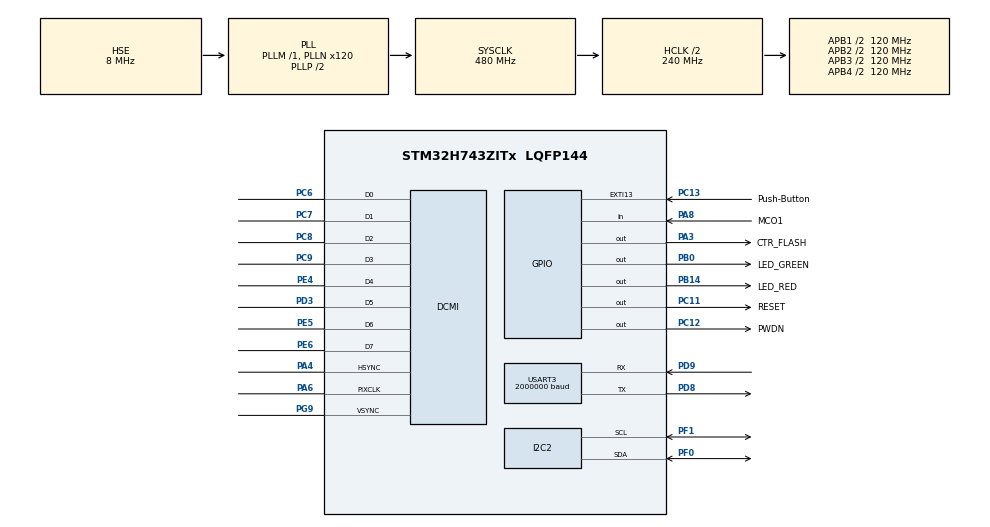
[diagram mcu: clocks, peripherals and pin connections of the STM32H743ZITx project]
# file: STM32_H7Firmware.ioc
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CORTEX_M7.AccessPermission_S-Cortex_Memory_Protection_Unit_Region1_Settings_S=MPU_REGION_FULL_ACCESS
CORTEX_M7.AccessPermission_S-Cortex_Memory_Protection_Unit_Region2_Settings_S=MPU_REGION_FULL_ACCESS
CORTEX_M7.AccessPermission_S-Cortex_Memory_Protection_Unit_Region3_Settings_S=MPU_REGION_FULL_ACCESS
CORTEX_M7.BaseAddress_S-Cortex_Memory_Protection_Unit_Region1_Settings_S=0x24000000
CORTEX_M7.BaseAddress_S-Cortex_Memory_Protection_Unit_Region2_Settings_S=0x30000000
CORTEX_M7.BaseAddress_S-Cortex_Memory_Protection_Unit_Region3_Settings_S=0x38000000
CORTEX_M7.CPU_DCache=Enabled
CORTEX_M7.CPU_ICache=Enabled
CORTEX_M7.DisableExec_S-Cortex_Memory_Protection_Unit_Region1_Settings_S=MPU_INSTRUCTION_ACCESS_DISABLE
CORTEX_M7.DisableExec_S-Cortex_Memory_Protection_Unit_Region2_Settings_S=MPU_INSTRUCTION_ACCESS_DISABLE
CORTEX_M7.DisableExec_S-Cortex_Memory_Protection_Unit_Region3_Settings_S=MPU_INSTRUCTION_ACCESS_DISABLE
CORTEX_M7.Enable_S-Cortex_Memory_Protection_Unit_Region1_Settings_S=MPU_REGION_ENABLE
CORTEX_M7.Enable_S-Cortex_Memory_Protection_Unit_Region2_Settings_S=MPU_REGION_ENABLE
CORTEX_M7.Enable_S-Cortex_Memory_Protection_Unit_Region3_Settings_S=MPU_REGION_ENABLE
CORTEX_M7.Size_S-Cortex_Memory_Protection_Unit_Region1_Settings_S=MPU_REGION_SIZE_512KB
CORTEX_M7.Size_S-Cortex_Memory_Protection_Unit_Region2_Settings_S=MPU_REGION_SIZE_256KB
CORTEX_M7.Size_S-Cortex_Memory_Protection_Unit_Region3_Settings_S=MPU_REGION_SIZE_64KB
CORTEX_M7.TypeExtField_S-Cortex_Memory_Protection_Unit_Region1_Settings_S=MPU_TEX_LEVEL1
CORTEX_M7.TypeExtField_S-Cortex_Memory_Protection_Unit_Region2_Settings_S=MPU_TEX_LEVEL1
CORTEX_M7.TypeExtField_S-Cortex_Memory_Protection_Unit_Region3_Settings_S=MPU_TEX_LEVEL1
CORTEX_M7.default_mode_Activation=1
DCMI.JPEGMode=DCMI_JPEG_DISABLE
DCMI.PCKPolarity=DCMI_PCKPOLARITY_RISING
Dma.DCMI.1.Direction=DMA_PERIPH_TO_MEMORY
Dma.DCMI.1.EventEnable=DISABLE
Dma.DCMI.1.FIFOMode=DMA_FIFOMODE_ENABLE
Dma.DCMI.1.FIFOThreshold=DMA_FIFO_THRESHOLD_FULL
Dma.DCMI.1.Instance=DMA2_Stream1
Dma.DCMI.1.MemBurst=DMA_MBURST_SINGLE
Dma.DCMI.1.MemDataAlignment=DMA_MDATAALIGN_WORD
Dma.DCMI.1.MemInc=DMA_MINC_ENABLE
Dma.DCMI.1.Mode=DMA_NORMAL
Dma.DCMI.1.PeriphBurst=DMA_PBURST_SINGLE
Dma.DCMI.1.PeriphDataAlignment=DMA_PDATAALIGN_WORD
Dma.DCMI.1.PeriphInc=DMA_PINC_DISABLE
Dma.DCMI.1.Polarity=HAL_DMAMUX_REQ_GEN_RISING
Dma.DCMI.1.Priority=DMA_PRIORITY_VERY_HIGH
Dma.DCMI.1.RequestNumber=1
Dma.DCMI.1.SignalID=NONE
Dma.DCMI.1.SyncEnable=DISABLE
Dma.DCMI.1.SyncPolarity=HAL_DMAMUX_SYNC_NO_EVENT
Dma.DCMI.1.SyncRequestNumber=1
Dma.DCMI.1.SyncSignalID=NONE
Dma.Request0=USART3_TX
Dma.Request1=DCMI
Dma.USART3_TX.0.Direction=DMA_MEMORY_TO_PERIPH
Dma.USART3_TX.0.EventEnable=DISABLE
Dma.USART3_TX.0.FIFOMode=DMA_FIFOMODE_ENABLE
Dma.USART3_TX.0.FIFOThreshold=DMA_FIFO_THRESHOLD_FULL
Dma.USART3_TX.0.Instance=DMA2_Stream3
Dma.USART3_TX.0.MemBurst=DMA_MBURST_SINGLE
Dma.USART3_TX.0.MemDataAlignment=DMA_MDATAALIGN_BYTE
Dma.USART3_TX.0.MemInc=DMA_MINC_ENABLE
Dma.USART3_TX.0.Mode=DMA_NORMAL
Dma.USART3_TX.0.PeriphBurst=DMA_PBURST_SINGLE
Dma.USART3_TX.0.PeriphDataAlignment=DMA_PDATAALIGN_BYTE
Dma.USART3_TX.0.PeriphInc=DMA_PINC_DISABLE
Dma.USART3_TX.0.Polarity=HAL_DMAMUX_REQ_GEN_RISING
Dma.USART3_TX.0.Priority=DMA_PRIORITY_LOW
Dma.USART3_TX.0.RequestNumber=1
Dma.USART3_TX.0.SignalID=NONE
Dma.USART3_TX.0.SyncEnable=DISABLE
Dma.USART3_TX.0.SyncPolarity=HAL_DMAMUX_SYNC_NO_EVENT
Dma.USART3_TX.0.SyncRequestNumber=1
Dma.USART3_TX.0.SyncSignalID=NONE
FREERTOS.Tasks01=defaultTask,24,128,StartDefaultTask,Default,NULL,Dynamic,NULL,NULL
FREERTOS.configTOTAL_HEAP_SIZE=49152
FREERTOS.configUSE_IDLE_HOOK=1
FREERTOS.configUSE_NEWLIB_REENTRANT=1
I2C2.Timing=0x307075B1
Mcu.Family=STM32H7
Mcu.Name=STM32H743ZITx
Mcu.Package=LQFP144
NVIC.DCMI_IRQn=true\:5\:0\:false\:false\:true\:true\:true\:true\:true
NVIC.DMA2_Stream1_IRQn=true\:5\:0\:false\:false\:true\:true\:false\:true\:true
NVIC.DMA2_Stream3_IRQn=true\:5\:0\:false\:false\:true\:true\:false\:true\:true
NVIC.EXTI15_10_IRQn=true\:5\:0\:false\:false\:true\:true\:true\:true\:true
NVIC.PriorityGroup=NVIC_PRIORITYGROUP_4
NVIC.RCC_IRQn=true\:5\:0\:false\:false\:true\:true\:true\:false\:true
NVIC.TIM6_DAC_IRQn=true\:15\:0\:false\:false\:true\:false\:false\:true\:true
NVIC.TimeBase=TIM6_DAC_IRQn
NVIC.TimeBaseIP=TIM6
NVIC.USART3_IRQn=true\:5\:0\:false\:false\:true\:true\:true\:true\:true
PA13\ (JTMS/SWDIO).Mode=Serial_Wire
PA13\ (JTMS/SWDIO).Signal=DEBUG_JTMS-SWDIO
PA14\ (JTCK/SWCLK).Mode=Serial_Wire
PA14\ (JTCK/SWCLK).Signal=DEBUG_JTCK-SWCLK
PA3.GPIO_Label=CTR_FLASH
PA3.GPIO_Speed=GPIO_SPEED_FREQ_VERY_HIGH
PA3.Signal=GPIO_Output
PA4.GPIO_Speed=GPIO_SPEED_FREQ_VERY_HIGH
PA4.Mode=Slave_8_bits_External_Synchro
PA4.Signal=DCMI_HSYNC
PA6.GPIO_Speed=GPIO_SPEED_FREQ_VERY_HIGH
PA6.Mode=Slave_8_bits_External_Synchro
PA6.Signal=DCMI_PIXCLK
PA8.GPIO_Label=MCO1
PA8.Signal=GPIO_Input
PB0.GPIO_Label=LED_GREEN
PB0.Signal=GPIO_Output
PB14.GPIO_Label=LED_RED
PB14.Signal=GPIO_Output
PC11.GPIO_Label=RESET
PC11.GPIO_PuPd=GPIO_PULLDOWN
PC11.GPIO_Speed=GPIO_SPEED_FREQ_VERY_HIGH
PC11.PinState=GPIO_PIN_SET
PC11.Signal=GPIO_Output
PC12.GPIO_Label=PWDN
PC12.Signal=GPIO_Output
PC13.GPIO_Label=Push-Button
PC13.GPIO_PuPd=GPIO_PULLDOWN
PC13.Signal=GPXTI13
PC6.GPIO_Speed=GPIO_SPEED_FREQ_VERY_HIGH
PC6.Mode=Slave_8_bits_External_Synchro
PC6.Signal=DCMI_D0
PC7.GPIO_Speed=GPIO_SPEED_FREQ_VERY_HIGH
PC7.Mode=Slave_8_bits_External_Synchro
PC7.Signal=DCMI_D1
PC8.GPIO_Speed=GPIO_SPEED_FREQ_VERY_HIGH
PC8.Mode=Slave_8_bits_External_Synchro
PC8.Signal=DCMI_D2
PC9.GPIO_Speed=GPIO_SPEED_FREQ_VERY_HIGH
PC9.Mode=Slave_8_bits_External_Synchro
PC9.Signal=DCMI_D3
PD3.GPIO_Speed=GPIO_SPEED_FREQ_VERY_HIGH
PD3.Mode=Slave_8_bits_External_Synchro
PD3.Signal=DCMI_D5
PD8.GPIO_Speed=GPIO_SPEED_FREQ_VERY_HIGH
PD8.Mode=Asynchronous
PD8.Signal=USART3_TX
PD9.GPIO_Speed=GPIO_SPEED_FREQ_VERY_HIGH
PD9.Mode=Asynchronous
PD9.Signal=USART3_RX
PE4.GPIO_Speed=GPIO_SPEED_FREQ_VERY_HIGH
PE4.Mode=Slave_8_bits_External_Synchro
PE4.Signal=DCMI_D4
PE5.GPIO_Speed=GPIO_SPEED_FREQ_VERY_HIGH
PE5.Mode=Slave_8_bits_External_Synchro
PE5.Signal=DCMI_D6
PE6.GPIO_Speed=GPIO_SPEED_FREQ_VERY_HIGH
PE6.Mode=Slave_8_bits_External_Synchro
PE6.Signal=DCMI_D7
PF0.GPIO_Mode=GPIO_MODE_AF_OD
PF0.GPIO_Pu=GPIO_NOPULL
PF0.GPIO_Speed=GPIO_SPEED_FREQ_LOW
PF0.Mode=I2C
PF0.Signal=I2C2_SDA
PF1.GPIO_Mode=GPIO_MODE_AF_OD
PF1.GPIO_Pu=GPIO_NOPULL
PF1.GPIO_Speed=GPIO_SPEED_FREQ_LOW
PF1.Mode=I2C
PF1.Signal=I2C2_SCL
PG9.GPIO_FM7=SYSCFG_PMCR_I2C_PB7_FMP
PG9.GPIO_Speed=GPIO_SPEED_FREQ_VERY_HIGH
PG9.Mode=Slave_8_bits_External_Synchro
PG9.Signal=DCMI_VSYNC
PH0-OSC_IN\ (PH0).Mode=HSE-External-Clock-Source
PH0-OSC_IN\ (PH0).Signal=RCC_OSC_IN
PH1-OSC_OUT\ (PH1).Signal=RCC_OSC_OUT
ProjectManager.HeapSize=0x800
ProjectManager.StackSize=0x800
ProjectManager.TargetToolchain=STM32CubeIDE
RCC.ADCFreq_Value=16125000
RCC.APB1Freq_Value=120000000
RCC.APB2Freq_Value=120000000
RCC.APB3Freq_Value=120000000
RCC.APB4Freq_Value=120000000
RCC.CortexFreq_Value=480000000
RCC.D1PPRE=RCC_APB3_DIV2
RCC.D2PPRE1=RCC_APB1_DIV2
RCC.D2PPRE2=RCC_APB2_DIV2
RCC.D3PPRE=RCC_APB4_DIV2
RCC.DIVM1=1
RCC.DIVN1=120
RCC.HCLKFreq_Value=240000000
RCC.HPRE=RCC_HCLK_DIV2
RCC.HSE_VALUE=8000000
RCC.PLLFRACN=0
RCC.PLLSourceVirtual=RCC_PLLSOURCE_HSE
RCC.SYSCLKFreq_VALUE=480000000
RCC.SYSCLKSource=RCC_SYSCLKSOURCE_PLLCLK
RCC.USBFreq_Value=480000000
STMicroelectronics.X-CUBE-AI.10.2.0.ActivationBufferSizeList=41152
STMicroelectronics.X-CUBE-AI.10.2.0.ActivationBuffers=pool0
STMicroelectronics.X-CUBE-AI.10.2.0.ActivationNames=pool0
STMicroelectronics.X-CUBE-AI.10.2.0.ActivationSizes=AI_NETWORK_DATA_ACTIVATION_1_SIZE
STMicroelectronics.X-CUBE-AI.10.2.0.ApplicationCcDeviceJjApplication=Validation
STMicroelectronics.X-CUBE-AI.10.2.0.BSP.number=1
STMicroelectronics.X-CUBE-AI.10.2.0.HeapSize=0x800
STMicroelectronics.X-CUBE-AI.10.2.0.InternalRamActivationBufferMaxSize=AI_NETWORK_DATA_ACTIVATIONS_SIZE
STMicroelectronics.X-CUBE-AI.10.2.0.LatestDirectoryUsed-75a89e27857eb69bddace2bbe004a42d1803309420ab0a9f09e94dc84c419778=<repo-root>\\ML training\\Model\\stm32ai-modelzoo-services\\image_classification\\tf\\src\\experiments_outputs\\2026_06_27_20_08_38\\quantized_models
STMicroelectronics.X-CUBE-AI.10.2.0.MaximumNumberOfInputLayer=1
STMicroelectronics.X-CUBE-AI.10.2.0.MaximumNumberOfOutputLayer=1
STMicroelectronics.X-CUBE-AI.10.2.0.MaximumSizeOfInputLayer=1
STMicroelectronics.X-CUBE-AI.10.2.0.MaximumSizeOfOutputLayer=1
STMicroelectronics.X-CUBE-AI.10.2.0.ModelActualCompression-75a89e27857eb69bddace2bbe004a42d1803309420ab0a9f09e94dc84c419778=0.0
STMicroelectronics.X-CUBE-AI.10.2.0.ModelCompression-75a89e27857eb69bddace2bbe004a42d1803309420ab0a9f09e94dc84c419778=None
STMicroelectronics.X-CUBE-AI.10.2.0.ModelFlashOccupation-75a89e27857eb69bddace2bbe004a42d1803309420ab0a9f09e94dc84c419778=286963
STMicroelectronics.X-CUBE-AI.10.2.0.ModelHashList=75a89e27857eb69bddace2bbe004a42d1803309420ab0a9f09e94dc84c419778
STMicroelectronics.X-CUBE-AI.10.2.0.ModelKind-75a89e27857eb69bddace2bbe004a42d1803309420ab0a9f09e94dc84c419778=TFLITE
STMicroelectronics.X-CUBE-AI.10.2.0.ModelMacc-75a89e27857eb69bddace2bbe004a42d1803309420ab0a9f09e94dc84c419778=7550858
STMicroelectronics.X-CUBE-AI.10.2.0.ModelName-75a89e27857eb69bddace2bbe004a42d1803309420ab0a9f09e94dc84c419778=network
STMicroelectronics.X-CUBE-AI.10.2.0.ModelNameList=network
STMicroelectronics.X-CUBE-AI.10.2.0.ModelRamOccupation-75a89e27857eb69bddace2bbe004a42d1803309420ab0a9f09e94dc84c419778=57876
STMicroelectronics.X-CUBE-AI.10.2.0.ModelStructureFile-75a89e27857eb69bddace2bbe004a42d1803309420ab0a9f09e94dc84c419778=<repo-root>\\ML training\\Model\\stm32ai-modelzoo-services\\image_classification\\tf\\src\\experiments_outputs\\2026_06_27_20_08_38\\quantized_models\\quantized_model.tflite
STMicroelectronics.X-CUBE-AI.10.2.0.ModelType-75a89e27857eb69bddace2bbe004a42d1803309420ab0a9f09e94dc84c419778=STM32Cube.AI MCU runtime
STMicroelectronics.X-CUBE-AI.10.2.0.ReadyForCodeGeneration=true
STMicroelectronics.X-CUBE-AI.10.2.0.StackSize=0x800
STMicroelectronics.X-CUBE-AI.10.2.0.WorkingBufferStartAddrList=0xFFFFFFFF
STMicroelectronics.X-CUBE-AI.10.2.0.XAaCUBEAaAICcArtificialOoIntelligenceJjCore=true
STMicroelectronics.X-CUBE-AI.10.2.0.copyWeightToRam-75a89e27857eb69bddace2bbe004a42d1803309420ab0a9f09e94dc84c419778=false
STMicroelectronics.X-CUBE-AI.10.2.0.customLayerConfigEnabled-75a89e27857eb69bddace2bbe004a42d1803309420ab0a9f09e94dc84c419778=false
STMicroelectronics.X-CUBE-AI.10.2.0.noOnnxIoTranspose-75a89e27857eb69bddace2bbe004a42d1803309420ab0a9f09e94dc84c419778=false
STMicroelectronics.X-CUBE-AI.10.2.0.useInputAllocation-75a89e27857eb69bddace2bbe004a42d1803309420ab0a9f09e94dc84c419778=true
STMicroelectronics.X-CUBE-AI.10.2.0.useOutputAllocation-75a89e27857eb69bddace2bbe004a42d1803309420ab0a9f09e94dc84c419778=true
STMicroelectronics.X-CUBE-AI.10.2.00.BSP.STBoard=false
STMicroelectronics.X-CUBE-AI.10.2.00.BSP.api=Unknown
STMicroelectronics.X-CUBE-AI.10.2.00.BSP.condition=\!SEMDeviceJjApplicationJjApplicationTemplate
STMicroelectronics.X-CUBE-AI.10.2.00.BSP.instance=USART3
STMicroelectronics.X-CUBE-AI.10.2.00.BSP.ip=USART
STMicroelectronics.X-CUBE-AI.10.2.00.BSP.mode=Asynchronous
STMicroelectronics.X-CUBE-AI.10.2.00.BSP.name=COM Port
STMicroelectronics.X-CUBE-AI.10.2.00.BSP.solution=USART3
USART3.BaudRate=2000000
USART3.VirtualMode-Asynchronous=VM_ASYNC
VP_CRC_VS_CRC.Mode=CRC_Activate
VP_FREERTOS_VS_CMSIS_V2.Mode=CMSIS_V2
VP_MEMORYMAP_VS_MEMORYMAP.Mode=CurAppReg
VP_STMicroelectronics.X-CUBE-AI_VS_ArtificialOoIntelligenceJjXAaCUBEAaAI_10.2.0.Mode=ArtificialOoIntelligenceJjXAaCUBEAaAI
VP_STMicroelectronics.X-CUBE-AI_VS_DeviceJjApplication_10.2.0.Mode=DeviceJjApplication
VP_SYS_VS_tim6.Mode=TIM6
board=custom

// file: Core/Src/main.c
/* USER CODE BEGIN Header */
/**
******************************************************************************
* @file           : main.c
* @brief          : Main program body
******************************************************************************
* @attention
*
* STM32H743ZI Edge Vision — application entry point.
*
* ── Memory layout (see STM32H743ZITX_FLASH.ld for full details) ─────────────
*
*  Region   Base         Size    Section       Contents
*  ──────────────────────────────────────────────────────────────────────────
*  RAM_D1   0x24000000  512 KB  .dcmi_buf     frameBuffer  (255.0 KB, DMA)
*                                             cvBinBuffer  (127.5 KB)
*  RAM_D2   0x30000000  288 KB  .cvtmb_buf    cvTmpBuffer  (127.5 KB)
*                               .cvbg_buf     cvBgBuffer   (127.5 KB)
*  RAM_D3   0x38000000   64 KB  .tinyml_buf   g_activations (41 152 B = 40.2 KB)
*
* ── Buffer sizing rationale ──────────────────────────────────────────────────
*
*  APP_RGB_MAX_WIDTH  = 480   capture resolution width
*  APP_RGB_MAX_HEIGHT = 272   capture resolution height
*
*  frameBuffer  = 480 × 272 × 2 = 261 120 B (255 KB) — RGB565, DMA target
*  cvBinBuffer  = 480 × 272     = 130 560 B (128 KB) — CV work_bin
*  cvTmpBuffer  = 480 × 272     = 130 560 B (128 KB) — CV tmp_buf (RAM_D2)
*  cvBgBuffer   = 480 × 272     = 130 560 B (128 KB) — bgsub reference (RAM_D2)
*
*  cvBinBuffer and cvTmpBuffer must both be proc_w × proc_h bytes because the
*  CV pipeline writes the full image into each buffer across every stage.
*  Neither can be reduced without splitting the pipeline.  See cv_engine.c.
*
* ── MPU configuration ────────────────────────────────────────────────────────
*  Region 0: 0x00000000 / 4 GB     — No-access background region
*  Region 1: RAM_D1 0x24000000 / 512 KB — Non-Cacheable (TEX=1 C=0 B=0)
*  Region 2: RAM_D2 0x30000000 / 256 KB — Non-Cacheable (same attributes)
*  Region 3: RAM_D3 0x38000000 /  64 KB — Non-Cacheable (same attributes)
*
* ── ROI note ─────────────────────────────────────────────────────────────────
*  If a fixed ROI is always active the CV buffers could be sized for that ROI
*  only, saving ~54 KB per buffer.  Set APP_CV_MAX_WIDTH/HEIGHT to the ROI
*  dimensions to enable this.  Default is full-capture size so ROI can be
*  toggled at runtime.
*
* Copyright (c) 2026 STMicroelectronics.
* All rights reserved.
*
* This software is licensed under terms that can be found in the LICENSE file
* in the root directory of this software component.
* If no LICENSE file comes with this software, it is provided AS-IS.
*
******************************************************************************
*/
/* USER CODE END Header */
#include "main.h"
#include "FreeRTOS.h"
#include "cmsis_os2.h"
#include "app_x-cube-ai.h"

/* USER CODE BEGIN Includes */
#include "uart_tx.h"
#include "camera_app.h"
#include "camera_capture.h"
#include "camera_parse.h"
#include "camera_proto.h"
#include "cv_engine.h"
#include "task.h"
#include "queue.h"
/* USER CODE END Includes */

/* USER CODE BEGIN PD */

/* ── Capture resolution ───────────────────────────────────────────────────────
 * Maximum supported: 480×272.
 * VGA (640×480) is NOT possible: frameBuffer alone = 600 KB > 512 KB RAM_D1. */

#ifndef APP_RGB_MAX_WIDTH
#define APP_RGB_MAX_WIDTH   480u
#endif
#ifndef APP_RGB_MAX_HEIGHT
#define APP_RGB_MAX_HEIGHT  272u
#endif

/* ── CV buffer maximum region size ───────────────────────────────────────────
 * Must be >= the largest proc_w * proc_h that will ever be requested.
 * Default = full capture size so ROI can be toggled at runtime.
 * Reduce to a fixed ROI size only if ROI is always active. */

#ifndef APP_CV_MAX_WIDTH
#define APP_CV_MAX_WIDTH    APP_RGB_MAX_WIDTH
#endif
#ifndef APP_CV_MAX_HEIGHT
#define APP_CV_MAX_HEIGHT   APP_RGB_MAX_HEIGHT
#endif

/* ── Task stack sizes (words = 4 bytes each) ─────────────────────────────── */

#ifndef APP_UART_TX_QUEUE_LEN
#define APP_UART_TX_QUEUE_LEN        8u
#endif
#ifndef APP_CAMERA_TASK_STACK_WORDS
#define APP_CAMERA_TASK_STACK_WORDS  4096u
#endif
#ifndef APP_STREAM_TASK_STACK_WORDS
#define APP_STREAM_TASK_STACK_WORDS  1024u
#endif
#ifndef APP_UART_TASK_STACK_WORDS
#define APP_UART_TASK_STACK_WORDS    768u
#endif
#ifndef APP_HEARTBEAT_STACK_WORDS
#define APP_HEARTBEAT_STACK_WORDS    128u
#endif

/* ── Derived buffer sizes ────────────────────────────────────────────────── */

/* frameBuffer: full RGB565 capture frame, DMA target (2 bytes/pixel). */
#define FRAME_BUF_SIZE   ((uint32_t)APP_RGB_MAX_WIDTH  * APP_RGB_MAX_HEIGHT  * 2u)

/* cvBinBuffer (work_bin): 1 byte/pixel, sized for maximum processing region. */
#define CV_BIN_BUF_SIZE  ((uint32_t)APP_CV_MAX_WIDTH * APP_CV_MAX_HEIGHT)

/* cvTmpBuffer (tmp_buf): same size as cvBinBuffer; used for grayscale staging,
 * binary staging, and morphology intermediate.  Resides in RAM_D2. */
#define CV_TMP_BUF_SIZE  ((uint32_t)APP_CV_MAX_WIDTH * APP_CV_MAX_HEIGHT)

/* cvBgBuffer: grayscale background reference for subtraction.
 * Same region size as cvBinBuffer.  Resides in RAM_D2. */
#define CV_BG_BUF_SIZE   ((uint32_t)APP_CV_MAX_WIDTH * APP_CV_MAX_HEIGHT)

/* ── Compile-time memory budget checks ──────────────────────────────────────
 *
 * RAM_D1 holds frameBuffer + cvBinBuffer only (.dcmi_buf section).
 *   At 480×272: 261 120 + 130 560 = 391 680 B (383 KB) ≤ 512 KB ✅
 *
 * RAM_D2 holds cvTmpBuffer + cvBgBuffer (.cvtmb_buf + .cvbg_buf sections).
 *   At 480×272: 130 560 + 130 560 = 261 120 B (255 KB) ≤ 288 KB ✅
 *
 * RAM_D3 holds g_activations (.tinyml_buf); the linker enforces the 64 KB
 * limit directly — no compile-time approximation needed here. */

#define _RAM_D1_BUF_SIZE  (FRAME_BUF_SIZE + CV_BIN_BUF_SIZE)
_Static_assert(_RAM_D1_BUF_SIZE <= (512u * 1024u),
    "RAM_D1 overflow: frameBuffer + cvBinBuffer exceed 512 KB. "
    "Reduce APP_RGB_MAX_WIDTH/HEIGHT or APP_CV_MAX_WIDTH/HEIGHT.");

#define _RAM_D2_BUF_SIZE  (CV_TMP_BUF_SIZE + CV_BG_BUF_SIZE)
_Static_assert(_RAM_D2_BUF_SIZE <= (288u * 1024u),
    "RAM_D2 overflow: cvTmpBuffer + cvBgBuffer exceed 288 KB. "
    "Reduce APP_CV_MAX_WIDTH/HEIGHT.");

/* USER CODE END PD */

CRC_HandleTypeDef hcrc;

DCMI_HandleTypeDef hdcmi;
DMA_HandleTypeDef hdma_dcmi;

I2C_HandleTypeDef hi2c2;

UART_HandleTypeDef huart3;
DMA_HandleTypeDef hdma_usart3_tx;

/* Definitions for defaultTask */
osThreadId_t defaultTaskHandle;
const osThreadAttr_t defaultTask_attributes = {
  .name = "defaultTask",
  .stack_size = 128 * 4,
  .priority = (osPriority_t) osPriorityNormal,
};
/* USER CODE BEGIN PV */
/* ── Application state ───────────────────────────────────────────────────── */
static uart_tx_t    uart_tx;
static camera_app_t cam_app;
static uint8_t      rx_byte;   /* Single-byte ISR receive staging register. */

/* ── RAM_D1 (AXI SRAM, 0x24000000, Non-Cacheable via MPU Region 1) ──────────
 *
 * frameBuffer must be first (largest buffer, DMA target — keep at section start).
 * Both buffers are 32-byte aligned for cache-line granularity. */
__attribute__((section(".dcmi_buf"), aligned(32)))
static uint8_t frameBuffer[FRAME_BUF_SIZE];

__attribute__((section(".dcmi_buf"), aligned(32)))
static uint8_t cvBinBuffer[CV_BIN_BUF_SIZE];

/* ── RAM_D2 (AHB SRAM, 0x30000000, Non-Cacheable via MPU Region 2) ──────────
 *
 * cvTmpBuffer: CV pipeline scratch (filter, threshold, morphology).
 * cvBgBuffer:  grayscale background reference for background subtraction.
 * Neither buffer requires DMA access; CPU-only CV pipeline. */
__attribute__((section(".cvtmb_buf"), aligned(32)))
static uint8_t cvTmpBuffer[CV_TMP_BUF_SIZE];

__attribute__((section(".cvbg_buf"), aligned(32)))
static uint8_t cvBgBuffer[CV_BG_BUF_SIZE];

/* USER CODE END PV */

void SystemClock_Config(void);
static void MPU_Config(void);
static void MX_GPIO_Init(void);
static void MX_DMA_Init(void);
static void MX_CRC_Init(void);
static void MX_DCMI_Init(void);
void MX_USART3_UART_Init(void);
static void MX_I2C2_Init(void);
void StartDefaultTask(void *argument);

/* USER CODE BEGIN 0 */

/* ── FreeRTOS idle hook ──────────────────────────────────────────────────── */

/* Enter WFI in the idle task to reduce power consumption. */
void vApplicationIdleHook(void) { __WFI(); }

/* ── Heartbeat task ──────────────────────────────────────────────────────── */

/* Toggle red LED at 1 Hz to indicate the scheduler is running. */
static void heartbeat_task(void *arg)
{
    (void)arg;
    for (;;) {
        HAL_GPIO_TogglePin(LED_RED_GPIO_Port, LED_RED_Pin);
        vTaskDelay(pdMS_TO_TICKS(500u));
    }
}

/* ── ISR callbacks ───────────────────────────────────────────────────────── */

/* Push-button: notify the camera command task to take a snapshot. */
void HAL_GPIO_EXTI_Callback(uint16_t GPIO_Pin)
{
    if (GPIO_Pin == Push_Button_Pin) {
        if (!cam_app.cmd_task) { return; }
        BaseType_t hpw = pdFALSE;
        vTaskNotifyGiveFromISR(cam_app.cmd_task, &hpw);
        portYIELD_FROM_ISR(hpw);
    }
}

/* UART RX complete: forward received byte to the application RX queue. */
void HAL_UART_RxCpltCallback(UART_HandleTypeDef *huart)
{
    if (huart->Instance == USART3) {
        if (!cam_app.rx_q) { return; }
        BaseType_t hpw = pdFALSE;
        (void)xQueueSendFromISR(cam_app.rx_q, &rx_byte, &hpw);
        portYIELD_FROM_ISR(hpw);
        (void)HAL_UART_Receive_IT(huart, &rx_byte, 1u);
    }
}

/* UART TX DMA complete: notify the UART TX task to send the next chunk. */
void HAL_UART_TxCpltCallback(UART_HandleTypeDef *huart)
{
    if ((uart_tx.worker_task == NULL) || (huart != uart_tx.huart)) { return; }
    BaseType_t hpw = pdFALSE;
    vTaskNotifyGiveFromISR(uart_tx.worker_task, &hpw);
    portYIELD_FROM_ISR(hpw);
}

/* USER CODE END 0 */

int main(void)
{

  /* MPU Configuration--------------------------------------------------------*/
  MPU_Config();

  /* Enable the CPU Cache */

  /* Enable I-Cache---------------------------------------------------------*/
  SCB_EnableICache();

  /* Enable D-Cache---------------------------------------------------------*/
  SCB_EnableDCache();

  /* MCU Configuration--------------------------------------------------------*/

  /* Reset of all peripherals, Initializes the Flash interface and the Systick. */
  HAL_Init();

  /* Configure the system clock */
  SystemClock_Config();

  /* Initialize all configured peripherals */
  MX_GPIO_Init();
  MX_DMA_Init();
  MX_CRC_Init();
  MX_DCMI_Init();
  MX_USART3_UART_Init();
  MX_I2C2_Init();
  MX_X_CUBE_AI_Init();
  /* USER CODE BEGIN 2 */

  /* UART TX service. */
      if (uart_tx_init(&uart_tx, &huart3, APP_UART_TX_QUEUE_LEN) != pdTRUE) {
          Error_Handler();
      }

      /* Application init — binds hardware handles and buffer pointers. */
      {
          QueueHandle_t rx_q = xQueueCreate(512u, sizeof(uint8_t));
          if (rx_q == NULL) { Error_Handler(); }

          camera_app_init(&cam_app,
                          &uart_tx,
                          &hi2c2,
                          &hdcmi,
                          RESET_GPIO_Port, RESET_Pin,
						  CTR_FLASH_GPIO_Port,CTR_FLASH_Pin,
                          frameBuffer,  FRAME_BUF_SIZE,
                          cvBinBuffer,  CV_BIN_BUF_SIZE,
                          cvTmpBuffer,  CV_TMP_BUF_SIZE,
                          cvBgBuffer,   CV_BG_BUF_SIZE,
                          &huart3,
                          rx_q);
      }

      /* Start UART interrupt reception. */
      (void)HAL_UART_Receive_IT(&huart3, &rx_byte, 1u);

      /* Create application tasks. */
      xTaskCreate(heartbeat_task,     "HB",
                  APP_HEARTBEAT_STACK_WORDS,   NULL,      1u, NULL);
      xTaskCreate(uart_tx_task,       "UART_TX",
                  APP_UART_TASK_STACK_WORDS,   &uart_tx,  2u, NULL);
      xTaskCreate(camera_app_task,    "CAM_APP",
                  APP_CAMERA_TASK_STACK_WORDS, &cam_app,  3u, NULL);
      xTaskCreate(camera_stream_task, "CAM_STREAM",
                  APP_STREAM_TASK_STACK_WORDS, &cam_app,  4u, NULL);

      /* Hand control to the FreeRTOS scheduler — does not return. */
      vTaskStartScheduler();
      Error_Handler();

  /* USER CODE END 2 */

  /* Init scheduler */
  osKernelInitialize();

  /* Create the thread(s) */
  /* creation of defaultTask */
  defaultTaskHandle = osThreadNew(StartDefaultTask, NULL, &defaultTask_attributes);

  /* Start scheduler */
  osKernelStart();

  /* We should never get here as control is now taken by the scheduler */

  /* Infinite loop */
  while (1)
  {

  }
}

void SystemClock_Config(void)
{
  RCC_OscInitTypeDef RCC_OscInitStruct = {0};
  RCC_ClkInitTypeDef RCC_ClkInitStruct = {0};

  /** Supply configuration update enable
  */
  HAL_PWREx_ConfigSupply(PWR_LDO_SUPPLY);

  /** Configure the main internal regulator output voltage
  */
  __HAL_PWR_VOLTAGESCALING_CONFIG(PWR_REGULATOR_VOLTAGE_SCALE0);

  while(!__HAL_PWR_GET_FLAG(PWR_FLAG_VOSRDY)) {}

  /** Initializes the RCC Oscillators according to the specified parameters
  * in the RCC_OscInitTypeDef structure.
  */
  RCC_OscInitStruct.OscillatorType = RCC_OSCILLATORTYPE_HSE;
  RCC_OscInitStruct.HSEState = RCC_HSE_BYPASS;
  RCC_OscInitStruct.PLL.PLLState = RCC_PLL_ON;
  RCC_OscInitStruct.PLL.PLLSource = RCC_PLLSOURCE_HSE;
  RCC_OscInitStruct.PLL.PLLM = 1;
  RCC_OscInitStruct.PLL.PLLN = 120;
  RCC_OscInitStruct.PLL.PLLP = 2;
  RCC_OscInitStruct.PLL.PLLQ = 2;
  RCC_OscInitStruct.PLL.PLLR = 2;
  RCC_OscInitStruct.PLL.PLLRGE = RCC_PLL1VCIRANGE_3;
  RCC_OscInitStruct.PLL.PLLVCOSEL = RCC_PLL1VCOWIDE;
  RCC_OscInitStruct.PLL.PLLFRACN = 0;
  if (HAL_RCC_OscConfig(&RCC_OscInitStruct) != HAL_OK)
  {
    Error_Handler();
  }

  /** Initializes the CPU, AHB and APB buses clocks
  */
  RCC_ClkInitStruct.ClockType = RCC_CLOCKTYPE_HCLK|RCC_CLOCKTYPE_SYSCLK
                              |RCC_CLOCKTYPE_PCLK1|RCC_CLOCKTYPE_PCLK2
                              |RCC_CLOCKTYPE_D3PCLK1|RCC_CLOCKTYPE_D1PCLK1;
  RCC_ClkInitStruct.SYSCLKSource = RCC_SYSCLKSOURCE_PLLCLK;
  RCC_ClkInitStruct.SYSCLKDivider = RCC_SYSCLK_DIV1;
  RCC_ClkInitStruct.AHBCLKDivider = RCC_HCLK_DIV2;
  RCC_ClkInitStruct.APB3CLKDivider = RCC_APB3_DIV2;
  RCC_ClkInitStruct.APB1CLKDivider = RCC_APB1_DIV2;
  RCC_ClkInitStruct.APB2CLKDivider = RCC_APB2_DIV2;
  RCC_ClkInitStruct.APB4CLKDivider = RCC_APB4_DIV2;

  if (HAL_RCC_ClockConfig(&RCC_ClkInitStruct, FLASH_LATENCY_4) != HAL_OK)
  {
    Error_Handler();
  }
}

static void MX_CRC_Init(void)
{

  hcrc.Instance = CRC;
  hcrc.Init.DefaultPolynomialUse = DEFAULT_POLYNOMIAL_ENABLE;
  hcrc.Init.DefaultInitValueUse = DEFAULT_INIT_VALUE_ENABLE;
  hcrc.Init.InputDataInversionMode = CRC_INPUTDATA_INVERSION_NONE;
  hcrc.Init.OutputDataInversionMode = CRC_OUTPUTDATA_INVERSION_DISABLE;
  hcrc.InputDataFormat = CRC_INPUTDATA_FORMAT_BYTES;
  if (HAL_CRC_Init(&hcrc) != HAL_OK)
  {
    Error_Handler();
  }

}

static void MX_DCMI_Init(void)
{

  hdcmi.Instance = DCMI;
  hdcmi.Init.SynchroMode = DCMI_SYNCHRO_HARDWARE;
  hdcmi.Init.PCKPolarity = DCMI_PCKPOLARITY_RISING;
  hdcmi.Init.VSPolarity = DCMI_VSPOLARITY_LOW;
  hdcmi.Init.HSPolarity = DCMI_HSPOLARITY_LOW;
  hdcmi.Init.CaptureRate = DCMI_CR_ALL_FRAME;
  hdcmi.Init.ExtendedDataMode = DCMI_EXTEND_DATA_8B;
  hdcmi.Init.JPEGMode = DCMI_JPEG_DISABLE;
  hdcmi.Init.ByteSelectMode = DCMI_BSM_ALL;
  hdcmi.Init.ByteSelectStart = DCMI_OEBS_ODD;
  hdcmi.Init.LineSelectMode = DCMI_LSM_ALL;
  hdcmi.Init.LineSelectStart = DCMI_OELS_ODD;
  if (HAL_DCMI_Init(&hdcmi) != HAL_OK)
  {
    Error_Handler();
  }

}

static void MX_I2C2_Init(void)
{

  hi2c2.Instance = I2C2;
  hi2c2.Init.Timing = 0x307075B1;
  hi2c2.Init.OwnAddress1 = 0;
  hi2c2.Init.AddressingMode = I2C_ADDRESSINGMODE_7BIT;
  hi2c2.Init.DualAddressMode = I2C_DUALADDRESS_DISABLE;
  hi2c2.Init.OwnAddress2 = 0;
  hi2c2.Init.OwnAddress2Masks = I2C_OA2_NOMASK;
  hi2c2.Init.GeneralCallMode = I2C_GENERALCALL_DISABLE;
  hi2c2.Init.NoStretchMode = I2C_NOSTRETCH_DISABLE;
  if (HAL_I2C_Init(&hi2c2) != HAL_OK)
  {
    Error_Handler();
  }

  /** Configure Analogue filter
  */
  if (HAL_I2CEx_ConfigAnalogFilter(&hi2c2, I2C_ANALOGFILTER_ENABLE) != HAL_OK)
  {
    Error_Handler();
  }

  /** Configure Digital filter
  */
  if (HAL_I2CEx_ConfigDigitalFilter(&hi2c2, 0) != HAL_OK)
  {
    Error_Handler();
  }

}

void MX_USART3_UART_Init(void)
{

  huart3.Instance = USART3;
  huart3.Init.BaudRate = 2000000;
  huart3.Init.WordLength = UART_WORDLENGTH_8B;
  huart3.Init.StopBits = UART_STOPBITS_1;
  huart3.Init.Parity = UART_PARITY_NONE;
  huart3.Init.Mode = UART_MODE_TX_RX;
  huart3.Init.HwFlowCtl = UART_HWCONTROL_NONE;
  huart3.Init.OverSampling = UART_OVERSAMPLING_16;
  huart3.Init.OneBitSampling = UART_ONE_BIT_SAMPLE_DISABLE;
  huart3.Init.ClockPrescaler = UART_PRESCALER_DIV1;
  huart3.AdvancedInit.AdvFeatureInit = UART_ADVFEATURE_NO_INIT;
  if (HAL_UART_Init(&huart3) != HAL_OK)
  {
    Error_Handler();
  }
  if (HAL_UARTEx_SetTxFifoThreshold(&huart3, UART_TXFIFO_THRESHOLD_1_8) != HAL_OK)
  {
    Error_Handler();
  }
  if (HAL_UARTEx_SetRxFifoThreshold(&huart3, UART_RXFIFO_THRESHOLD_1_8) != HAL_OK)
  {
    Error_Handler();
  }
  if (HAL_UARTEx_DisableFifoMode(&huart3) != HAL_OK)
  {
    Error_Handler();
  }

}

static void MX_DMA_Init(void)
{

  /* DMA controller clock enable */
  __HAL_RCC_DMA2_CLK_ENABLE();

  /* DMA interrupt init */
  /* DMA2_Stream1_IRQn interrupt configuration */
  HAL_NVIC_SetPriority(DMA2_Stream1_IRQn, 5, 0);
  HAL_NVIC_EnableIRQ(DMA2_Stream1_IRQn);
  /* DMA2_Stream3_IRQn interrupt configuration */
  HAL_NVIC_SetPriority(DMA2_Stream3_IRQn, 5, 0);
  HAL_NVIC_EnableIRQ(DMA2_Stream3_IRQn);

}

static void MX_GPIO_Init(void)
{
  GPIO_InitTypeDef GPIO_InitStruct = {0};

  /* GPIO Ports Clock Enable */
  __HAL_RCC_GPIOE_CLK_ENABLE();
  __HAL_RCC_GPIOC_CLK_ENABLE();
  __HAL_RCC_GPIOF_CLK_ENABLE();
  __HAL_RCC_GPIOH_CLK_ENABLE();
  __HAL_RCC_GPIOA_CLK_ENABLE();
  __HAL_RCC_GPIOB_CLK_ENABLE();
  __HAL_RCC_GPIOD_CLK_ENABLE();
  __HAL_RCC_GPIOG_CLK_ENABLE();

  /*Configure GPIO pin Output Level */
  HAL_GPIO_WritePin(CTR_FLASH_GPIO_Port, CTR_FLASH_Pin, GPIO_PIN_RESET);

  /*Configure GPIO pin Output Level */
  HAL_GPIO_WritePin(GPIOB, LED_GREEN_Pin|LED_RED_Pin, GPIO_PIN_RESET);

  /*Configure GPIO pin Output Level */
  HAL_GPIO_WritePin(RESET_GPIO_Port, RESET_Pin, GPIO_PIN_SET);

  /*Configure GPIO pin Output Level */
  HAL_GPIO_WritePin(PWDN_GPIO_Port, PWDN_Pin, GPIO_PIN_RESET);

  /*Configure GPIO pin : Push_Button_Pin */
  GPIO_InitStruct.Pin = Push_Button_Pin;
  GPIO_InitStruct.Mode = GPIO_MODE_IT_RISING;
  GPIO_InitStruct.Pull = GPIO_PULLDOWN;
  HAL_GPIO_Init(Push_Button_GPIO_Port, &GPIO_InitStruct);

  /*Configure GPIO pin : CTR_FLASH_Pin */
  GPIO_InitStruct.Pin = CTR_FLASH_Pin;
  GPIO_InitStruct.Mode = GPIO_MODE_OUTPUT_PP;
  GPIO_InitStruct.Pull = GPIO_NOPULL;
  GPIO_InitStruct.Speed = GPIO_SPEED_FREQ_VERY_HIGH;
  HAL_GPIO_Init(CTR_FLASH_GPIO_Port, &GPIO_InitStruct);

  /*Configure GPIO pins : LED_GREEN_Pin LED_RED_Pin */
  GPIO_InitStruct.Pin = LED_GREEN_Pin|LED_RED_Pin;
  GPIO_InitStruct.Mode = GPIO_MODE_OUTPUT_PP;
  GPIO_InitStruct.Pull = GPIO_NOPULL;
  GPIO_InitStruct.Speed = GPIO_SPEED_FREQ_LOW;
  HAL_GPIO_Init(GPIOB, &GPIO_InitStruct);

  /*Configure GPIO pin : MCO1_Pin */
  GPIO_InitStruct.Pin = MCO1_Pin;
  GPIO_InitStruct.Mode = GPIO_MODE_INPUT;
  GPIO_InitStruct.Pull = GPIO_NOPULL;
  HAL_GPIO_Init(MCO1_GPIO_Port, &GPIO_InitStruct);

  /*Configure GPIO pin : RESET_Pin */
  GPIO_InitStruct.Pin = RESET_Pin;
  GPIO_InitStruct.Mode = GPIO_MODE_OUTPUT_PP;
  GPIO_InitStruct.Pull = GPIO_PULLDOWN;
  GPIO_InitStruct.Speed = GPIO_SPEED_FREQ_VERY_HIGH;
  HAL_GPIO_Init(RESET_GPIO_Port, &GPIO_InitStruct);

  /*Configure GPIO pin : PWDN_Pin */
  GPIO_InitStruct.Pin = PWDN_Pin;
  GPIO_InitStruct.Mode = GPIO_MODE_OUTPUT_PP;
  GPIO_InitStruct.Pull = GPIO_NOPULL;
  GPIO_InitStruct.Speed = GPIO_SPEED_FREQ_LOW;
  HAL_GPIO_Init(PWDN_GPIO_Port, &GPIO_InitStruct);

  /* EXTI interrupt init*/
  HAL_NVIC_SetPriority(Push_Button_EXTI_IRQn, 5, 0);
  HAL_NVIC_EnableIRQ(Push_Button_EXTI_IRQn);

}

void StartDefaultTask(void *argument)
{
  for(;;)
  {
    osDelay(1);
  }
}

 /* MPU Configuration */

void MPU_Config(void)
{
  MPU_Region_InitTypeDef MPU_InitStruct = {0};

  /* Disables the MPU */
  HAL_MPU_Disable();

  /** Initializes and configures the Region and the memory to be protected
  */
  MPU_InitStruct.Enable = MPU_REGION_ENABLE;
  MPU_InitStruct.Number = MPU_REGION_NUMBER0;
  MPU_InitStruct.BaseAddress = 0x0;
  MPU_InitStruct.Size = MPU_REGION_SIZE_4GB;
  MPU_InitStruct.SubRegionDisable = 0x87;
  MPU_InitStruct.TypeExtField = MPU_TEX_LEVEL0;
  MPU_InitStruct.AccessPermission = MPU_REGION_NO_ACCESS;
  MPU_InitStruct.DisableExec = MPU_INSTRUCTION_ACCESS_DISABLE;
  MPU_InitStruct.IsShareable = MPU_ACCESS_SHAREABLE;
  MPU_InitStruct.IsCacheable = MPU_ACCESS_NOT_CACHEABLE;
  MPU_InitStruct.IsBufferable = MPU_ACCESS_NOT_BUFFERABLE;

  HAL_MPU_ConfigRegion(&MPU_InitStruct);

  /** Initializes and configures the Region and the memory to be protected
  */
  MPU_InitStruct.Number = MPU_REGION_NUMBER1;
  MPU_InitStruct.BaseAddress = 0x24000000;
  MPU_InitStruct.Size = MPU_REGION_SIZE_512KB;
  MPU_InitStruct.SubRegionDisable = 0x0;
  MPU_InitStruct.TypeExtField = MPU_TEX_LEVEL1;
  MPU_InitStruct.AccessPermission = MPU_REGION_FULL_ACCESS;
  MPU_InitStruct.IsShareable = MPU_ACCESS_NOT_SHAREABLE;

  HAL_MPU_ConfigRegion(&MPU_InitStruct);

  /** Initializes and configures the Region and the memory to be protected
  */
  MPU_InitStruct.Number = MPU_REGION_NUMBER2;
  MPU_InitStruct.BaseAddress = 0x30000000;
  MPU_InitStruct.Size = MPU_REGION_SIZE_256KB;

  HAL_MPU_ConfigRegion(&MPU_InitStruct);

  /** Initializes and configures the Region and the memory to be protected
  */
  MPU_InitStruct.Number = MPU_REGION_NUMBER3;
  MPU_InitStruct.BaseAddress = 0x38000000;
  MPU_InitStruct.Size = MPU_REGION_SIZE_64KB;

  HAL_MPU_ConfigRegion(&MPU_InitStruct);
  /* Enables the MPU */
  HAL_MPU_Enable(MPU_PRIVILEGED_DEFAULT);

}

void HAL_TIM_PeriodElapsedCallback(TIM_HandleTypeDef *htim)
{
  if (htim->Instance == TIM6)
  {
    HAL_IncTick();
  }
}

void Error_Handler(void)
{
  /* USER CODE BEGIN Error_Handler_Debug */
  /* Blink the red LED at 5 Hz so a debugger-less board shows a visible fault. */
  __disable_irq();
  while (1)
  {
      HAL_GPIO_TogglePin(GPIOB, LED_RED_Pin);
      for (volatile uint32_t i = 0u; i < 480000u; i++) { __NOP(); }
  }
  /* USER CODE END Error_Handler_Debug */
}
#ifdef USE_FULL_ASSERT
/**
  * @brief  Reports the name of the source file and the source line number
  *         where the assert_param error has occurred.
  * @param  file: pointer to the source file name
  * @param  line: assert_param error line source number
  * @retval None
  */
void assert_failed(uint8_t *file, uint32_t line)
{
  /* USER CODE BEGIN 6 */
  /* User can add his own implementation to report the file name and line number,
     ex: printf("Wrong parameters value: file %s on line %d\r\n", file, line) */

    (void)file;
    (void)line;
  /* USER CODE END 6 */
}
#endif /* USE_FULL_ASSERT */
